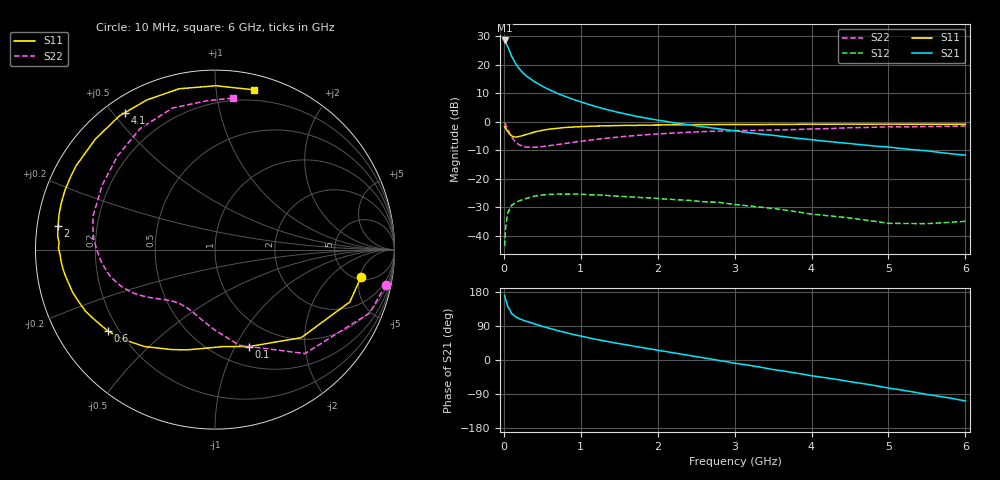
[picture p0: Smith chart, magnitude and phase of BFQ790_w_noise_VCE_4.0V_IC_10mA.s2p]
! (c) 2015  Infineon Technologies AG, Munich
! Infineon Technologies  Discrete & RF Semiconductors
! BFQ790
! VCE =  4.0 V,  IC =  10 mA
! Common Emitter S-Parameters:  May 2015
# GHz  S  MA  R  50
!  f  S11  S21  S12  S22
! GHz  MAG  ANG  MAG  ANG  MAG  ANG  MAG  ANG
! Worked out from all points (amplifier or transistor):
!   77 points, 10 MHz to 6 GHz, reference 50 ohm
!   highest |S21| = 28.6 dB at 10 MHz (marker M1)
!   |S21| within 3 dB of that: start of sweep to 63.45 MHz
!   unconditionally stable (mu >= 1): 2.419 GHz to end of sweep
!   at 130 MHz: K = 0.65, MSG = 25.2 dB, |S12| = -28.7 dB
!   at 2.2 GHz: K = 0.95, MSG = 13.5 dB, |S12| = -27.2 dB
!   at 6 GHz: K = 4.00, MAG = 2.7 dB, |S12| = -34.9 dB
!   lowest NFmin = 2.10 dB at 450 MHz
!   S11 on the Smith chart (normalised r, x): 10 MHz: 5.34, -5.24; 100 MHz: 0.71, -1.14; 600 MHz: 0.16, -0.33; 2 GHz: 0.06, +0.07; 4.1 GHz: 0.06, +0.54; 6 GHz: 0.11, +1.26
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0.01  0.8272 -10.8  26.93 170.6  0.0066 74.0  0.9714 -11.6
0.02  0.8059 -21.2  26.16 161.5  0.0122 70.4  0.9316 -22.3
0.05  0.6868 -45.6  21.03 140.7  0.025 51.3  0.7661 -49.1
0.1  0.5724 -70.8  14.31 122.7  0.0344 34.3  0.5504 -75.7
0.15  0.542 -85.6  10.68 114.4  0.0381 27.8  0.4449 -90.8
0.2  0.5549 -97.0  8.599 109.1  0.0413 23.3  0.3959 -101.2
0.25  0.58 -105.6  7.251 105.2  0.0435 18.9  0.3717 -108.5
0.3  0.6069 -113.4  6.295 101.6  0.0458 15.6  0.361 -114.3
0.4  0.6677 -126.0  5.066 95.0  0.05 10.1  0.3591 -122.6
0.5  0.7147 -135.4  4.232 88.8  0.0522 4.2  0.3688 -128.3
0.6  0.7499 -142.9  3.629 83.1  0.0535 -0.7  0.3846 -132.8
0.7  0.7748 -149.4  3.155 77.5  0.0543 -4.7  0.4013 -136.3
0.8  0.7991 -154.6  2.797 72.6  0.054 -10.5  0.4194 -139.2
0.9  0.8144 -159.5  2.49 67.5  0.0542 -14.5  0.4382 -142.0
1.1  0.8364 -166.9  2.035 58.7  0.0527 -20.9  0.4759 -147.0
1.5  0.8641 -178.3  1.459 43.1  0.0496 -33.5  0.5445 -156.4
2  0.884 171.5  1.076 25.9  0.0454 -46.2  0.6147 -168.6
2.1  0.8868 169.4  1.024 22.7  0.0444 -48.5  0.6257 -171.4
3.1  0.9018 146.6  0.671 -11.3  0.0345 -71.8  0.7052 161.6
4.1  0.9132 123.3  0.471 -44.4  0.0234 -83.5  0.7574 133.0
5.1  0.9134 100.0  0.35 -77.0  0.0166 -82.7  0.8212 104.0
6  0.916 76.4  0.261 -108.1  0.018 -71.5  0.8509 83.1
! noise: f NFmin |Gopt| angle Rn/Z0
0.45  2.1  0.38  85  0.37
0.9  2.34  0.53  146  0.17
1.5  2.99  0.71  177  0.07
1.8  3.51  0.73  -176  0.09
2.6  4.97  0.8  -157  0.34
3.5  6.68  0.95  -139  1.34
